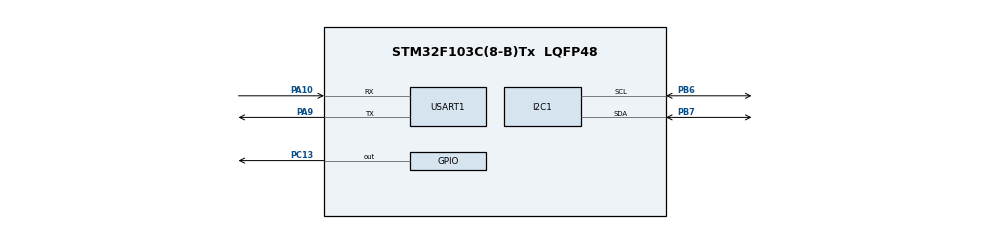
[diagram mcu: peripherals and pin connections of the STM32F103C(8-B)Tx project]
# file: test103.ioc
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Mcu.Family=STM32F1
Mcu.Name=STM32F103C(8-B)Tx
Mcu.Package=LQFP48
NVIC.PriorityGroup=NVIC_PRIORITYGROUP_4
PA10.Mode=Asynchronous
PA10.Signal=USART1_RX
PA13.Mode=Serial_Wire
PA13.Signal=SYS_JTMS-SWDIO
PA14.Mode=Serial_Wire
PA14.Signal=SYS_JTCK-SWCLK
PA9.Mode=Asynchronous
PA9.Signal=USART1_TX
PB6.Mode=I2C
PB6.Signal=I2C1_SCL
PB7.Mode=I2C
PB7.Signal=I2C1_SDA
PC13-TAMPER-RTC.Signal=GPIO_Output
PD0-OSC_IN.Mode=HSE-External-Oscillator
PD0-OSC_IN.Signal=RCC_OSC_IN
PD1-OSC_OUT.Mode=HSE-External-Oscillator
PD1-OSC_OUT.Signal=RCC_OSC_OUT
ProjectManager.HeapSize=0x200
ProjectManager.StackSize=0x400
ProjectManager.TargetToolchain=MDK-ARM V5
RCC.APB1Freq_Value=8000000
RCC.APB2Freq_Value=8000000
RCC.SYSCLKSource=RCC_SYSCLKSOURCE_HSE
USART1.VirtualMode=VM_ASYNC
board=test103

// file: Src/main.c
/**
  ******************************************************************************
  * @file           : main.c
  * @brief          : Main program body
  ******************************************************************************
  ** This notice applies to any and all portions of this file
  * that are not between comment pairs USER CODE BEGIN and
  * USER CODE END. Other portions of this file, whether
  * inserted by the user or by software development tools
  * are owned by their respective copyright owners.
  *
  * COPYRIGHT(c) 2018 STMicroelectronics
  *
  * Redistribution and use in source and binary forms, with or without modification,
  * are permitted provided that the following conditions are met:
  *   1. Redistributions of source code must retain the above copyright notice,
  *      this list of conditions and the following disclaimer.
  *   2. Redistributions in binary form must reproduce the above copyright notice,
  *      this list of conditions and the following disclaimer in the documentation
  *      and/or other materials provided with the distribution.
  *   3. Neither the name of STMicroelectronics nor the names of its contributors
  *      may be used to endorse or promote products derived from this software
  *      without specific prior written permission.
  *
  * THIS SOFTWARE IS PROVIDED BY THE COPYRIGHT HOLDERS AND CONTRIBUTORS "AS IS"
  * AND ANY EXPRESS OR IMPLIED WARRANTIES, INCLUDING, BUT NOT LIMITED TO, THE
  * IMPLIED WARRANTIES OF MERCHANTABILITY AND FITNESS FOR A PARTICULAR PURPOSE ARE
  * DISCLAIMED. IN NO EVENT SHALL THE COPYRIGHT HOLDER OR CONTRIBUTORS BE LIABLE
  * FOR ANY DIRECT, INDIRECT, INCIDENTAL, SPECIAL, EXEMPLARY, OR CONSEQUENTIAL
  * DAMAGES (INCLUDING, BUT NOT LIMITED TO, PROCUREMENT OF SUBSTITUTE GOODS OR
  * SERVICES; LOSS OF USE, DATA, OR PROFITS; OR BUSINESS INTERRUPTION) HOWEVER
  * CAUSED AND ON ANY THEORY OF LIABILITY, WHETHER IN CONTRACT, STRICT LIABILITY,
  * OR TORT (INCLUDING NEGLIGENCE OR OTHERWISE) ARISING IN ANY WAY OUT OF THE USE
  * OF THIS SOFTWARE, EVEN IF ADVISED OF THE POSSIBILITY OF SUCH DAMAGE.
  *
  ******************************************************************************
  */
#include "main.h"
#include "stm32f1xx_hal.h"
#include "i2c.h"
#include "usart.h"
#include "gpio.h"

/* USER CODE BEGIN Includes */
#include "i2c.h"
#include "ds1307.h"
#include "bmp180.h"
#include "hmc5883.h"
#include "mpu6050.h"
#include "mpu6050_dmp.h"
/* USER CODE END Includes */

/* USER CODE BEGIN PV */
/* Private variables ---------------------------------------------------------*/

/* USER CODE END PV */

void SystemClock_Config(void);

/* USER CODE BEGIN PFP */
/* Private function prototypes -----------------------------------------------*/

/* USER CODE END PFP */

int main(void)
{
  /* USER CODE BEGIN 1 */
	//HAL_StatusTypeDef res;
	DS1307_time tm;
	BMP180_t BMP180_Data;
	HMC5883L_XYZ_StructTypeDef xyz;
	//int16_t ag[6];
	//uint8_t i, tmp;
	//uint8_t buf[20];
  /* USER CODE END 1 */

  /* MCU Configuration----------------------------------------------------------*/

  /* Reset of all peripherals, Initializes the Flash interface and the Systick. */
  HAL_Init();

  /* Configure the system clock */
  SystemClock_Config();

  /* Initialize all configured peripherals */
  MX_GPIO_Init();
  MX_I2C1_Init();
  MX_USART1_UART_Init();
  /* USER CODE BEGIN 2 */

	printf("Hello!\n\r");

	HAL_GPIO_WritePin(GPIOC, GPIO_PIN_13, GPIO_PIN_SET);

	if (I2C_IsDeviceConnected(&hi2c1, BMP180_I2C_ADDRESS) == HAL_OK){
		printf("BMP180 connected\n\r");
	} else {
		printf("BMP180 No connected\n\r");
	}
	BMP180_Init(&BMP180_Data);

	if (I2C_IsDeviceConnected(&hi2c1, MPU6050_I2C_ADDRESS) == HAL_OK){
		printf("MPU6050 connected\n\r");
	} else {
		printf("MPU6050 No connected\n\r");
	}

	MPU6050(MPU6050_DEFAULT_ADDRESS);
	MPU6050_initialize();

	printf("MPU6050 %02x \n\r", MPU6050_getDeviceID());

	MPU6050_setI2CBypassEnabled(true);
	MPU6050_setI2CMasterModeEnabled(false);

	//MPU6050_setSlaveRegister(0, HMC5883L_RA_MODE);

	if (I2C_IsDeviceConnected(&hi2c1, HMC5883L_I2C_ADDRESS) == HAL_OK){
		printf("HMC5883 connected\n\r");
	} else {
		printf("HMC5883 No connected\n\r");
	}
	HMC5883L_Initialize();
	printf("HMC5883 RAW:%d %d %0d \n\r", HMC5883L_GetX(), HMC5883L_GetZ(), HMC5883L_GetY());

	MPU6050_setI2CBypassEnabled(false);
	MPU6050_setI2CMasterModeEnabled(true);

	MPU6050_setSlaveAddress(0, 0x80 + HMC5883L_I2C_ADDRESS);
	MPU6050_setSlaveRegister(0, HMC5883L_RA_DATAX_H);
	MPU6050_setSlaveDataLength(0, 6);
	MPU6050_setSlaveWriteMode(0, false);
	MPU6050_setSlaveWordGroupOffset(0, true);
	MPU6050_setSlaveWordByteSwap(0, false);
	MPU6050_setSlaveEnabled(0, true);
	printf("6050 slave:%d %d %d \n\r",
		(int16_t) MPU6050_getExternalSensorWord(0),
		(int16_t) MPU6050_getExternalSensorWord(2),
		(int16_t) MPU6050_getExternalSensorWord(4));

  printf("6050 ax:%d %d %d \n\r",
		MPU6050_getAccelerationX(),
		MPU6050_getAccelerationY(),
		MPU6050_getAccelerationZ());

  MPU6050_DMP_Init();

//	if (I2C_IsDeviceConnected(&hi2c1, DS1307_I2C_ADDRESS) == HAL_OK){
//		HAL_GPIO_WritePin(GPIOC, GPIO_PIN_13, GPIO_PIN_RESET);
//		tm = DS1307_GetTime();
//		DS1307_PrintTime(&tm);
//	}

	//HAL_UART_Transmit(&huart1, buf, 6, 100);

	HAL_Delay(1000);

	MPU6050_setDMPEnabled(true);

  /* USER CODE END 2 */

  /* Infinite loop */
  while (1)
  {

  /* USER CODE BEGIN 3 */
		HAL_Delay(1000);
		HAL_GPIO_TogglePin(GPIOC, GPIO_PIN_13);

		xyz.X = (int16_t) MPU6050_getExternalSensorWord(0);
		xyz.Z = (int16_t) MPU6050_getExternalSensorWord(2);
		xyz.Y = (int16_t) MPU6050_getExternalSensorWord(4);
//		printf("6050 slave:%d %d %d %d \n\r",
//			,
//			(int16_t) MPU6050_getExternalSensorWord(2),
//			(int16_t) MPU6050_getExternalSensorWord(4), MPU6050_getSlaveEnabled(0));

    BMP180_StartTemperature(&BMP180_Data);
		HAL_Delay(BMP180_Data.Delay / 1000);
		BMP180_ReadTemperature(&BMP180_Data);

		BMP180_StartPressure(&BMP180_Data, BMP180_Oversampling_UltraHighResolution);
		HAL_Delay(BMP180_Data.Delay / 1000);
		BMP180_ReadPressure(&BMP180_Data);

//		HMC5883L_GetXYZ(&xyz);
		printf("T:%2.3f; P:%6d(%3.1f); Alt: %3.2fm; ang:%3.3f;\n\r",
				BMP180_Data.Temperature,
				BMP180_Data.Pressure, BMP180_GetHgPressure(BMP180_Data.Pressure),
				BMP180_Data.Altitude, HMC5883L_CountAngle(&xyz)
		);

		//MPU6050_GetRawAccelGyro(ag);
		//printf("T:%2.3f; X:%5d; Y:%5d; Z:%5d;\n\r", MPU6050_GetTemperature(MPU6050_GetRawTemperature()), ag[0], ag[1], ag[2]);
		printf("T:%2.3f; X:%5d; Y:%5d; Z:%5d;\n\r",
			MPU6050_computeTemperature(MPU6050_getTemperature()),
			MPU6050_getRotationX(), MPU6050_getRotationY(), MPU6050_getRotationZ());

		printf("          X:%5d; Y:%5d; Z:%5d;\n\r",
			MPU6050_getAccelerationX(),
			MPU6050_getAccelerationY(),
			MPU6050_getAccelerationZ());

//		if (I2C_IsDeviceConnected(&hi2c1, DS1307_I2C_ADDRESS) == HAL_OK){
//			tm = DS1307_GetTime();
//			printf("%02d:%02d:%02d\n\r", tm.hours, tm.minutes, tm.seconds);
//		}
  }
  /* USER CODE END 3 */

}

void SystemClock_Config(void)
{

  RCC_OscInitTypeDef RCC_OscInitStruct;
  RCC_ClkInitTypeDef RCC_ClkInitStruct;

    /**Initializes the CPU, AHB and APB busses clocks
    */
  RCC_OscInitStruct.OscillatorType = RCC_OSCILLATORTYPE_HSE;
  RCC_OscInitStruct.HSEState = RCC_HSE_ON;
  RCC_OscInitStruct.PLL.PLLState = RCC_PLL_NONE;
  if (HAL_RCC_OscConfig(&RCC_OscInitStruct) != HAL_OK)
  {
    _Error_Handler(__FILE__, __LINE__);
  }

    /**Initializes the CPU, AHB and APB busses clocks
    */
  RCC_ClkInitStruct.ClockType = RCC_CLOCKTYPE_HCLK|RCC_CLOCKTYPE_SYSCLK
                              |RCC_CLOCKTYPE_PCLK1|RCC_CLOCKTYPE_PCLK2;
  RCC_ClkInitStruct.SYSCLKSource = RCC_SYSCLKSOURCE_HSE;
  RCC_ClkInitStruct.AHBCLKDivider = RCC_SYSCLK_DIV1;
  RCC_ClkInitStruct.APB1CLKDivider = RCC_HCLK_DIV1;
  RCC_ClkInitStruct.APB2CLKDivider = RCC_HCLK_DIV1;

  if (HAL_RCC_ClockConfig(&RCC_ClkInitStruct, FLASH_LATENCY_0) != HAL_OK)
  {
    _Error_Handler(__FILE__, __LINE__);
  }

    /**Configure the Systick interrupt time
    */
  HAL_SYSTICK_Config(HAL_RCC_GetHCLKFreq()/1000);

    /**Configure the Systick
    */
  HAL_SYSTICK_CLKSourceConfig(SYSTICK_CLKSOURCE_HCLK);

  /* SysTick_IRQn interrupt configuration */
  HAL_NVIC_SetPriority(SysTick_IRQn, 0, 0);
}

void _Error_Handler(char *file, int line)
{
  while(1)
  {
  }
}

/************************ (C) COPYRIGHT STMicroelectronics *****END OF FILE****/
